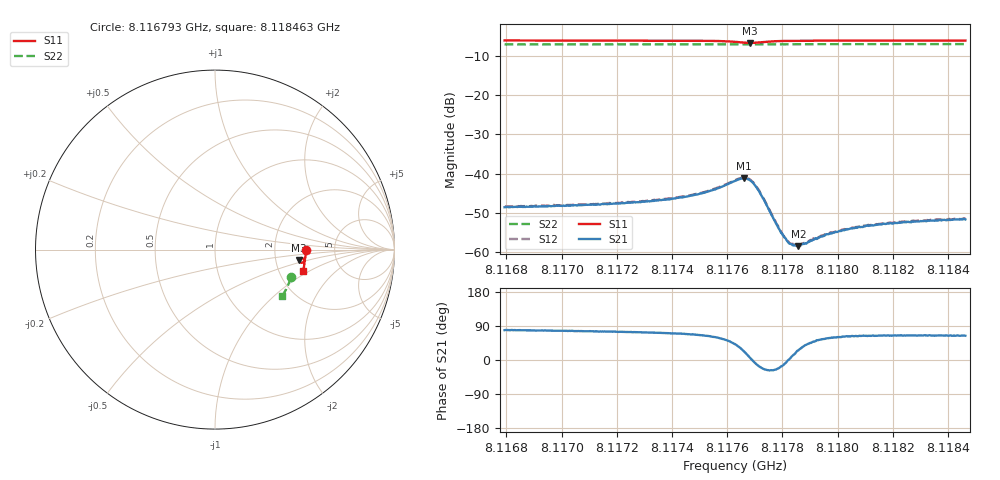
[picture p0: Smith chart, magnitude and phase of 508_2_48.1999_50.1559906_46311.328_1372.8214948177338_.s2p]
#  HZ  S  RI  R  50.00
! Rohde & Schwarz Vector Network Analyzer
! Rohde-Schwarz,ZNB20-2Port,1311601062101988,3.16
! Created: UTC 3/20/2024, 11:58:51 AM
! freq[Hz]  re:S11  im:S11  re:S21  im:S21  re:S12  im:S12  re:S22  im:S22
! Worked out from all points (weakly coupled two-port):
!   401 points, 8.116793 GHz to 8.118463 GHz, reference 50 ohm
!   highest |S21| = -41.21 dB at 8.117662 GHz (marker M1); lowest = -58.6 dB at 8.117858 GHz (marker M2)
!   lowest |S11| = -6.5 dB at 8.117682 GHz (marker M3), VSWR 2.78, Z = 136 - j20.4 ohm
!   |S11| at or under -10 dB: nowhere
!   |S22| runs from -6.9 to -6.8 dB; largest |S21 - S12| = 0.00021
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8.1167931e9  0.5068 -0.000147  0.000714 0.00362  0.000779 0.00374  0.4234 -0.1548
8.1170729e9  0.5057 -0.0219  0.000942 0.00382  0.000982 0.0039  0.4172 -0.1732
8.1172065e9  0.5048 -0.0328  0.00113 0.00396  0.00116 0.00404  0.4138 -0.182
8.1173526e9  0.5031 -0.0452  0.00141 0.00432  0.00148 0.0044  0.4099 -0.1913
8.1174444e9  0.5011 -0.054  0.0018 0.00467  0.00189 0.00475  0.4072 -0.1972
8.1175112e9  0.4983 -0.0611  0.00237 0.00509  0.00245 0.00518  0.4052 -0.2017
8.1175613e9  0.4944 -0.0673  0.00324 0.0055  0.00331 0.0056  0.4036 -0.2049
8.1176281e9  0.481 -0.0736  0.00601 0.00536  0.00615 0.00542  0.401 -0.2091
8.1176615e9  0.47 -0.0679  0.00805 0.00329  0.00821 0.00334  0.3996 -0.2106
8.1176824e9  0.4676 -0.0585  0.00815 0.000859  0.00834 0.000856  0.3991 -0.2115
8.1176991e9  0.4709 -0.0512  0.00713 -0.000843  0.0073 -0.000848  0.3989 -0.2122
8.1177158e9  0.4771 -0.0473  0.00564 -0.00169  0.00578 -0.00177  0.3986 -0.2132
8.1177868e9  0.4944 -0.0544  0.00183 -0.000727  0.00191 -0.000737  0.3973 -0.2178
8.1178076e9  0.4961 -0.0576  0.00148 -0.000271  0.00151 -0.000287  0.3968 -0.2193
8.1178285e9  0.4974 -0.0607  0.00125 0.000102  0.00126 6.07e-05  0.396 -0.2207
8.1178577e9  0.4983 -0.0647  0.00106 0.000497  0.00111 0.000497  0.3952 -0.2227
8.1178744e9  0.4984 -0.0667  0.00103 0.000723  0.00103 0.000705  0.3947 -0.2237
8.1179078e9  0.4988 -0.0705  0.000946 0.00102  0.000953 0.00101  0.3936 -0.2258
8.1179663e9  0.4986 -0.0766  0.000892 0.00141  0.000907 0.00141  0.3917 -0.2295
8.1180414e9  0.498 -0.0835  0.000894 0.00172  0.000931 0.00178  0.3891 -0.2341
8.1181875e9  0.4959 -0.0958  0.001 0.00206  0.000993 0.00212  0.3842 -0.2431
8.1184631e9  0.4915 -0.1169  0.00113 0.00232  0.00119 0.00238  0.374 -0.2597
